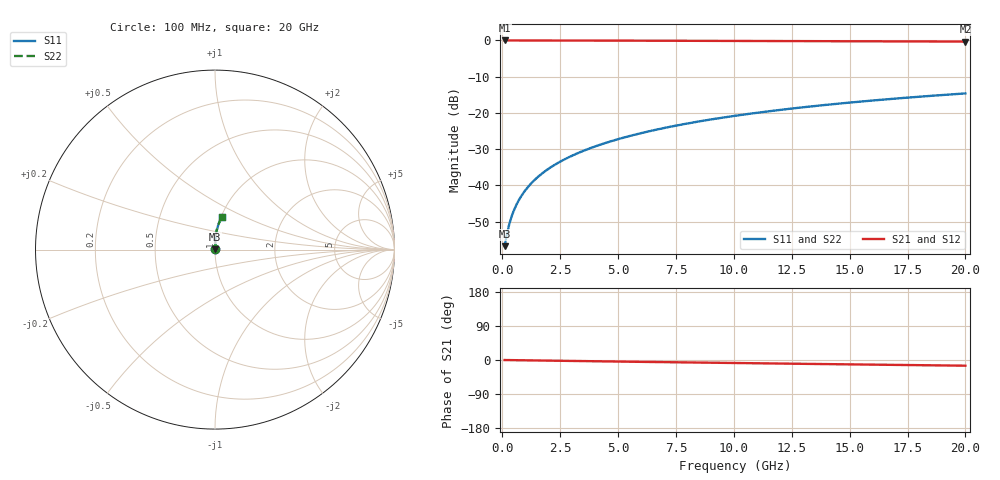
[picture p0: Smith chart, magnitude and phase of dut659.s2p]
! Touchstone file exported from HFSS 2024.1.0
!  File:  C:/UserFiles/LocalFiles/RDL_TSV_Batchsim/temp_RDL_top_659_1779781650.aedt
!  Generated:  03:49:48 PM May 26, 2026
!  Design:  RDL_top
!  Project:  temp_RDL_top_659_1779781650
!  Setup:  Setup1
!  Solution:  Sweep
! Variables:
!  dtsv = 10.80580581um
!  hbump = 3um
!  htsv = 79.93um
!  ldown = 100um
!  lrdl = 152.46um
!  p = 40
!  p1 = 57.55um
!  rhole = 1um
!  t = 450um
!  tdown = 3.915915916um
!  trdl = 2.89um
!  wdown = 15.38538539um
!  wrdl = 21.52um
# GHz S MA R 50.000000
! Terminal data exported
! Port[1] = Box2_T1
! Port[2] = Box2_T2
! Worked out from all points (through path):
!   200 points, 100 MHz to 20 GHz, reference 50 ohm
!   highest |S21| = -0.01 dB at 100 MHz (marker M1); lowest = -0.3 dB at 20 GHz (marker M2)
!   group delay of S21, straight-line fit = 2.07 ps
!   lowest |S11| = -56.7 dB at 100 MHz (marker M3), VSWR 1.00, Z = 50.1 + j0.0899 ohm
!   |S11| at or under -10 dB: start of sweep to end of sweep
!   |S22| runs from -56.7 to -14.6 dB; largest |S21 - S12| = 4.1e-15
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0.1  0.001455 38.1  0.9989 -0.1  0.9989 -0.1  0.001455 38.1
! Gamma 0 0 0 0
! Port Impedance 50 0 50 0
0.2  0.002134 56.6  0.9988 -0.2  0.9988 -0.2  0.002134 56.6
0.3  0.002912 65.4  0.9988 -0.3  0.9988 -0.3  0.002912 65.4
0.4  0.003714 70.4  0.9987 -0.3  0.9987 -0.3  0.003714 70.4
0.5  0.004523 73.6  0.9987 -0.4  0.9987 -0.4  0.004523 73.6
0.6  0.005337 75.9  0.9986 -0.5  0.9986 -0.5  0.005337 75.9
0.8  0.006973 79.1  0.9985 -0.7  0.9985 -0.7  0.006973 79.1
1.1  0.009451 81.9  0.9983 -0.9  0.9983 -0.9  0.009451 81.9
1.5  0.01279 84.1  0.9981 -1.3  0.9981 -1.3  0.01279 84.1
1.8  0.01532 85.1  0.9978 -1.5  0.9978 -1.5  0.01532 85.1
2.1  0.01787 85.9  0.9976 -1.8  0.9976 -1.8  0.01787 85.9
2.7  0.02302 86.9  0.997 -2.3  0.997 -2.3  0.02302 86.9
3.5  0.03001 87.7  0.9959 -2.9  0.9959 -2.9  0.03001 87.7
4.2  0.03624 88.0  0.9949 -3.5  0.9949 -3.5  0.03624 88.0
5  0.04349 88.2  0.9936 -4.1  0.9936 -4.1  0.04349 88.2
5.9  0.05179 88.1  0.992 -4.8  0.992 -4.8  0.05179 88.1
6.8  0.06022 87.9  0.9904 -5.5  0.9904 -5.5  0.06022 87.9
8.4  0.07544 87.1  0.9873 -6.7  0.9873 -6.7  0.07544 87.1
10.1  0.09181 86.1  0.984 -8.0  0.984 -8.0  0.09181 86.1
13.4  0.1237 83.6  0.9773 -10.4  0.9773 -10.4  0.1237 83.6
16.7  0.1551 81.0  0.9705 -12.7  0.9705 -12.7  0.1551 81.0
20  0.1859 78.4  0.9634 -15.0  0.9634 -15.0  0.1859 78.4
